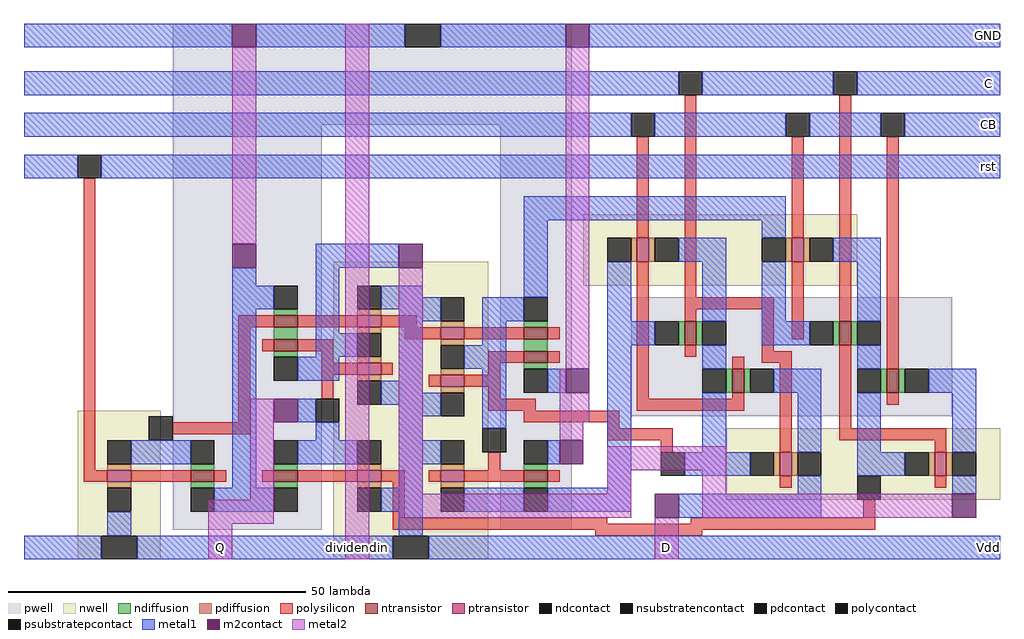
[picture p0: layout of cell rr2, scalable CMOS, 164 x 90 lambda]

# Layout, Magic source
magic
tech scmos
<< pwell >>
rect 11 -261 78 -244
rect 11 -329 36 -261
rect 66 -329 78 -261
rect 88 -310 142 -290
<< nwell >>
rect -5 -334 9 -309
rect 38 -334 64 -284
rect 80 -288 126 -276
rect 104 -324 150 -312
<< polysilicon >>
rect -4 -319 -2 -270
rect 89 -280 91 -263
rect 22 -295 28 -293
rect 32 -295 42 -293
rect 46 -295 52 -293
rect 22 -311 24 -295
rect 26 -299 28 -297
rect 32 -299 38 -297
rect 36 -301 38 -299
rect 50 -297 56 -295
rect 60 -297 70 -295
rect 74 -297 76 -295
rect 36 -303 42 -301
rect 46 -303 48 -301
rect 64 -301 70 -299
rect 74 -301 76 -299
rect 64 -303 66 -301
rect 36 -307 38 -303
rect 54 -305 56 -303
rect 60 -305 66 -303
rect 64 -307 66 -305
rect 89 -307 91 -284
rect 97 -290 99 -256
rect 115 -280 117 -263
rect 97 -292 112 -290
rect 97 -294 99 -292
rect 97 -300 99 -298
rect 110 -299 112 -292
rect 115 -297 117 -284
rect 123 -294 125 -256
rect 105 -302 107 -300
rect 110 -301 115 -299
rect 105 -307 107 -306
rect 64 -309 72 -307
rect 89 -309 107 -307
rect 70 -311 86 -309
rect 11 -313 24 -311
rect 84 -312 86 -311
rect 84 -314 95 -312
rect 64 -319 66 -316
rect 93 -316 95 -314
rect 113 -316 115 -301
rect 123 -312 125 -298
rect 131 -302 133 -263
rect 131 -308 133 -306
rect 123 -314 141 -312
rect 139 -316 141 -314
rect -4 -321 0 -319
rect 4 -321 14 -319
rect 18 -321 20 -319
rect 26 -321 28 -319
rect 32 -321 42 -319
rect 46 -321 50 -319
rect 54 -321 56 -319
rect 60 -321 70 -319
rect 74 -321 76 -319
rect 48 -327 50 -321
rect 113 -322 115 -320
rect 139 -322 141 -320
rect 127 -327 129 -324
rect 48 -328 84 -327
rect 98 -328 129 -327
rect 48 -329 129 -328
rect 82 -330 100 -329
<< ndiffusion >>
rect 28 -293 32 -292
rect 70 -295 74 -294
rect 28 -297 32 -295
rect 28 -300 32 -299
rect 70 -299 74 -297
rect 70 -302 74 -301
rect 96 -298 97 -294
rect 99 -298 100 -294
rect 122 -298 123 -294
rect 125 -298 126 -294
rect 104 -306 105 -302
rect 107 -306 108 -302
rect 14 -319 18 -318
rect 28 -319 32 -318
rect 70 -319 74 -318
rect 130 -306 131 -302
rect 133 -306 134 -302
rect 14 -322 18 -321
rect 28 -322 32 -321
rect 70 -322 74 -321
<< pdiffusion >>
rect 88 -284 89 -280
rect 91 -284 92 -280
rect 42 -293 46 -292
rect 56 -295 60 -294
rect 42 -296 46 -295
rect 42 -301 46 -300
rect 56 -298 60 -297
rect 56 -303 60 -302
rect 42 -304 46 -303
rect 56 -306 60 -305
rect 114 -284 115 -280
rect 117 -284 118 -280
rect 0 -319 4 -318
rect 42 -319 46 -318
rect 56 -319 60 -318
rect 112 -320 113 -316
rect 115 -320 116 -316
rect 138 -320 139 -316
rect 141 -320 142 -316
rect 0 -322 4 -321
rect 42 -322 46 -321
rect 56 -322 60 -321
<< metal1 >>
rect -14 -248 21 -244
rect 25 -248 50 -244
rect 56 -248 77 -244
rect 81 -248 150 -244
rect -14 -256 96 -252
rect 100 -256 122 -252
rect 126 -256 150 -252
rect -14 -263 88 -259
rect 92 -263 114 -259
rect 118 -263 130 -259
rect 134 -263 150 -259
rect -14 -270 -5 -266
rect -1 -270 150 -266
rect 70 -277 114 -273
rect 21 -288 25 -285
rect 35 -285 49 -281
rect 21 -292 28 -288
rect 4 -318 14 -314
rect 21 -322 25 -292
rect 35 -296 39 -285
rect 46 -290 53 -288
rect 70 -290 74 -277
rect 110 -280 114 -277
rect 46 -292 56 -290
rect 49 -294 56 -292
rect 63 -294 70 -290
rect 96 -284 104 -280
rect 84 -294 88 -284
rect 100 -294 104 -284
rect 35 -300 42 -296
rect 32 -304 39 -300
rect 49 -304 53 -294
rect 63 -298 67 -294
rect 60 -302 67 -298
rect 84 -298 92 -294
rect 122 -284 130 -280
rect 110 -294 114 -284
rect 126 -294 130 -284
rect 110 -298 118 -294
rect 32 -311 35 -307
rect 46 -306 53 -304
rect 46 -308 56 -306
rect 35 -314 39 -311
rect 49 -310 56 -308
rect 49 -314 53 -310
rect 63 -312 67 -302
rect 74 -306 77 -302
rect 32 -318 42 -314
rect 49 -318 56 -314
rect 74 -318 76 -314
rect 49 -322 53 -318
rect 84 -322 88 -298
rect 100 -302 104 -298
rect 126 -302 130 -298
rect 112 -306 120 -302
rect 100 -316 104 -306
rect 116 -316 120 -306
rect 97 -320 108 -316
rect 18 -326 28 -322
rect 46 -326 53 -322
rect 60 -326 70 -322
rect 74 -326 88 -322
rect 116 -323 120 -320
rect 0 -330 4 -326
rect 49 -330 53 -326
rect 96 -327 120 -323
rect 138 -306 146 -302
rect 126 -316 130 -306
rect 142 -316 146 -306
rect 126 -320 134 -316
rect 142 -323 146 -320
rect -14 -334 -1 -330
rect 5 -334 48 -330
rect 54 -334 150 -330
<< metal2 >>
rect 21 -281 25 -248
rect 24 -324 28 -307
rect 17 -328 28 -324
rect 17 -334 21 -328
rect 40 -334 44 -244
rect 49 -323 53 -285
rect 77 -302 81 -248
rect 76 -306 77 -302
rect 76 -311 81 -306
rect 76 -314 80 -311
rect 84 -319 104 -315
rect 84 -323 88 -319
rect 100 -323 104 -319
rect 49 -327 88 -323
rect 100 -327 142 -323
rect 92 -334 96 -327
<< ntransistor >>
rect 28 -295 32 -293
rect 28 -299 32 -297
rect 70 -297 74 -295
rect 70 -301 74 -299
rect 97 -298 99 -294
rect 123 -298 125 -294
rect 105 -306 107 -302
rect 131 -306 133 -302
rect 14 -321 18 -319
rect 28 -321 32 -319
rect 70 -321 74 -319
<< ptransistor >>
rect 89 -284 91 -280
rect 42 -295 46 -293
rect 56 -297 60 -295
rect 42 -303 46 -301
rect 56 -305 60 -303
rect 115 -284 117 -280
rect 0 -321 4 -319
rect 42 -321 46 -319
rect 56 -321 60 -319
rect 113 -320 115 -316
rect 139 -320 141 -316
<< polycontact >>
rect 96 -256 100 -252
rect 122 -256 126 -252
rect 88 -263 92 -259
rect -5 -270 -1 -266
rect 7 -314 11 -310
rect 35 -311 39 -307
rect 114 -263 118 -259
rect 130 -263 134 -259
rect 63 -316 67 -312
rect 93 -320 97 -316
rect 126 -324 130 -320
<< ndcontact >>
rect 28 -292 32 -288
rect 70 -294 74 -290
rect 28 -304 32 -300
rect 70 -306 74 -302
rect 92 -298 96 -294
rect 100 -298 104 -294
rect 118 -298 122 -294
rect 126 -298 130 -294
rect 100 -306 104 -302
rect 108 -306 112 -302
rect 14 -318 18 -314
rect 28 -318 32 -314
rect 70 -318 74 -314
rect 126 -306 130 -302
rect 134 -306 138 -302
rect 14 -326 18 -322
rect 28 -326 32 -322
rect 70 -326 74 -322
<< pdcontact >>
rect 84 -284 88 -280
rect 92 -284 96 -280
rect 42 -292 46 -288
rect 56 -294 60 -290
rect 42 -300 46 -296
rect 56 -302 60 -298
rect 42 -308 46 -304
rect 56 -310 60 -306
rect 110 -284 114 -280
rect 118 -284 122 -280
rect 0 -318 4 -314
rect 42 -318 46 -314
rect 56 -318 60 -314
rect 108 -320 112 -316
rect 116 -320 120 -316
rect 134 -320 138 -316
rect 142 -320 146 -316
rect 0 -326 4 -322
rect 42 -326 46 -322
rect 56 -326 60 -322
<< m2contact >>
rect 21 -248 25 -244
rect 77 -248 81 -244
rect 21 -285 25 -281
rect 49 -285 53 -281
rect 28 -311 32 -307
rect 77 -306 81 -302
rect 76 -318 80 -314
rect 92 -327 96 -323
rect 142 -327 146 -323
<< psubstratepcontact >>
rect 50 -248 56 -244
<< nsubstratencontact >>
rect -1 -334 5 -330
rect 48 -334 54 -330
<< labels >>
rlabel metal1 148 -332 148 -332 8 Vdd
rlabel metal2 19 -332 19 -332 1 Q
rlabel metal2 42 -332 42 -332 1 dividendin
rlabel metal2 94 -332 94 -332 1 D
rlabel metal1 148 -268 148 -268 7 rst
rlabel metal1 148 -261 148 -261 7 CB
rlabel metal1 148 -254 148 -254 7 C
rlabel metal1 148 -246 148 -246 7 GND
<< end >>
